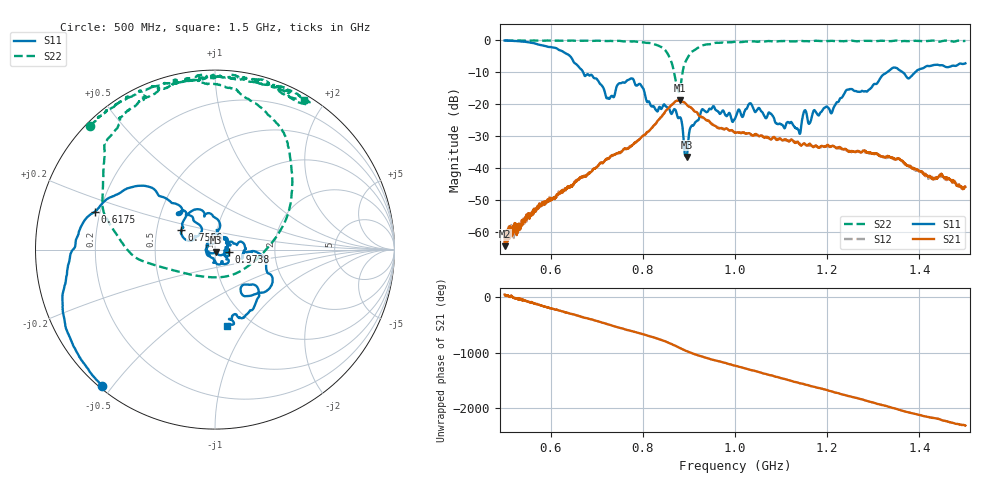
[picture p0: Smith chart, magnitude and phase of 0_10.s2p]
!Agilent Technologies,E8364B,US42250235,A.06.04.32
!Agilent E8364B: A.06.04.32
!Date: Friday, January 15, 2021 16:23:58
!Correction: S11(Full 2 Port(1,2)) S21(Full 2 Port(1,2)) S12(Full 2 Port(1,2)) S22(Full 2 Port(1,2))
!S2P File: Measurements: S11, S21, S12, S22:
# Hz S  dB  R 50
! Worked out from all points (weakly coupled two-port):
!   1601 points, 500 MHz to 1.5 GHz, reference 50 ohm
!   highest |S21| = -18.88 dB at 880 MHz (marker M1); lowest = -64.4 dB at 500.6 MHz (marker M2)
!   lowest |S11| = -36.5 dB at 895 MHz (marker M3), VSWR 1.03, Z = 50.7 - j1.35 ohm
!   |S11| at or under -10 dB: 670.2 MHz to 1.331 GHz (660.4 MHz wide, 66 % of centre); 1.363 GHz to 1.392 GHz (28.52 MHz wide, 2.07 % of centre)
!   |S22| runs from -16.2 to -0.1 dB; largest |S21 - S12| = 0.004
!   S11 on the Smith chart (normalised r, x): 500 MHz: 0.01, -0.47; 617.5 MHz: 0.18, +0.15; 755.6 MHz: 0.67, +0.16; 973.8 MHz: 1.17, -0.03; 1.5 GHz: 0.77, -0.81
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5e8  -0.13 -129.6  -61.03 45.3  -62.61 35.8  -0.16 135.3
5.00625e8  -0.13 -129.8  -64.43 29.0  -61.53 33.6  -0.16 135.2
5.6e8  -0.89 -160.2  -54.74 -99.3  -54.45 -104.4  -0.14 127.9
6.175e8  -3.06 162.6  -47.95 120.3  -47.29 121.9  -0.20 122.4
6.66875e8  -9.24 131.6  -43.04 4.0  -42.86 4.1  -0.20 115.0
7.24375e8  -18.07 134.1  -36.99 -132.9  -36.97 -130.7  -0.31 107.9
7.55625e8  -13.25 149.2  -34.59 153.1  -34.60 153.9  -0.37 103.7
7.95e8  -13.90 97.0  -30.72 62.6  -30.76 63.8  -0.68 91.7
8.3375e8  -21.72 91.8  -25.02 -35.1  -25.00 -33.7  -1.76 69.6
8.60625e8  -22.82 56.7  -20.53 -120.2  -20.55 -118.2  -6.31 30.2
8.8e8  -24.19 5.1  -18.88 162.6  -18.93 164.1  -15.82 -110.8
8.95e8  -36.55 -63.5  -20.13 104.9  -20.08 107.0  -6.09 179.1
9.04375e8  -27.09 -173.8  -21.07 75.4  -21.18 76.3  -3.90 163.0
9.2875e8  -21.63 95.3  -24.14 7.9  -24.22 8.7  -1.71 138.6
9.7375e8  -22.01 -7.8  -27.81 -97.0  -27.66 -94.7  -0.79 122.2
1e9  -24.57 2.4  -28.92 -156.8  -28.82 -154.8  -0.53 114.6
1.033125e9  -19.73 -45.4  -29.26 128.0  -29.57 129.8  -0.46 109.3
1.138125e9  -28.24 107.4  -32.13 -109.8  -32.31 -106.6  -0.23 93.4
1.150625e9  -22.10 75.4  -32.26 -133.4  -32.69 -132.2  -0.37 95.7
1.166875e9  -23.86 55.6  -33.13 -170.1  -33.12 -166.6  -0.34 90.0
1.33375e9  -9.67 -24.0  -36.30 -178.3  -36.58 -175.6  -0.37 75.3
1.5e9  -7.28 -80.8  -45.91 -154.5  -46.00 -154.9  -0.24 59.2
